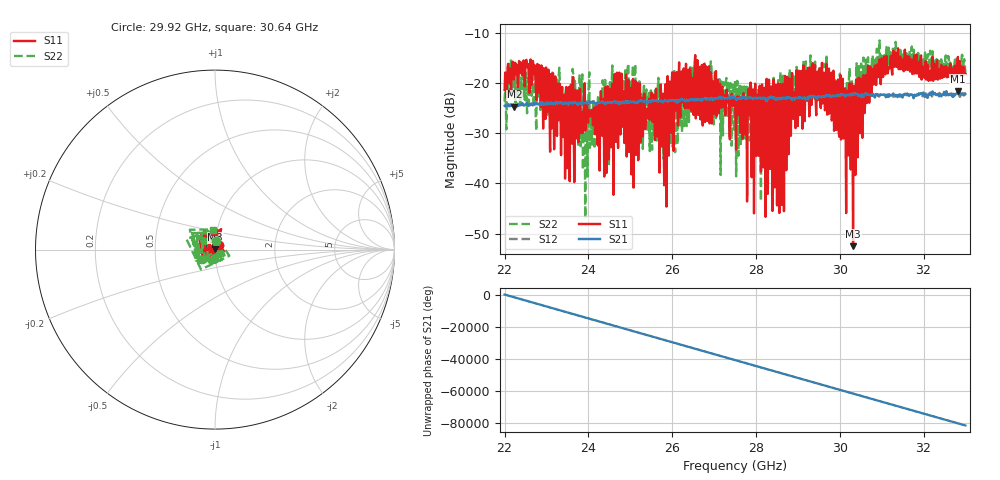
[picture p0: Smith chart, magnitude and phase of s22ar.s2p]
!Keysight Technologies,N5224B,MY57181201,A.12.70.07
!Date: Friday, July 15, 2022 16:15:42
!Correction: S11(Full 2 Port(1,2))
!S21(Full 2 Port(1,2))
!S12(Full 2 Port(1,2))
!S22(Full 2 Port(1,2))
!S2P File: Measurements: S11, S21, S12, S22:
# Hz S  dB  R 50
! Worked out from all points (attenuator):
!   801 points, 22 GHz to 33 GHz, reference 50 ohm
!   highest |S21| = -21.62 dB at 32.82 GHz (marker M1); lowest = -24.7 dB at 22.23 GHz (marker M2)
!   lowest |S11| = -52.5 dB at 30.32 GHz (marker M3), VSWR 1.00, Z = 50.1 + j0.198 ohm
!   |S11| at or under -10 dB: start of sweep to end of sweep
!   |S22| runs from -46.9 to -11.6 dB; largest |S21 - S12| = 0.0079
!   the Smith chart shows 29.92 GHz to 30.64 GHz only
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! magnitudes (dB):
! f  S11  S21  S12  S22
! 22 GHz  -21.4  -24.6  -24.6  -23.7
! 22.23 GHz  -16.8  -24.7  -24.7  -19.3
! 22.67 GHz  -15.6  -24.3  -24.5  -18.3
! 23.5 GHz  -37.0  -24.1  -23.9  -24.7
! 23.84 GHz  -25.8  -24.2  -24.2  -19.0
! 23.93 GHz  -29.5  -23.9  -23.9  -46.9
! 24.21 GHz  -32.1  -23.9  -24.0  -29.6
! 24.9 GHz  -18.4  -23.6  -23.7  -19.0
! 25.67 GHz  -24.6  -23.6  -23.7  -19.0
! 25.75 GHz  -32.7  -23.6  -23.5  -33.0
! 26 GHz  -17.9  -23.5  -23.5  -21.2
! 26.59 GHz  -16.8  -23.4  -23.5  -16.1
! 27.5 GHz  -23.0  -23.0  -23.0  -19.6
! 28.17 GHz  -36.8  -23.0  -22.9  -29.2
! 28.61 GHz  -44.3  -22.9  -23.0  -28.0
! 28.81 GHz  -19.2  -22.9  -23.0  -17.3
! 29.34 GHz  -19.2  -22.7  -23.0  -20.7
! 30.32 GHz  -52.5  -22.2  -22.4  -29.0
! 30.68 GHz  -16.6  -22.4  -22.6  -14.9
! 31.17 GHz  -16.8  -22.8  -22.3  -13.0
! 32.82 GHz  -14.8  -21.6  -21.9  -15.8
! 33 GHz  -18.2  -22.2  -22.2  -18.2
